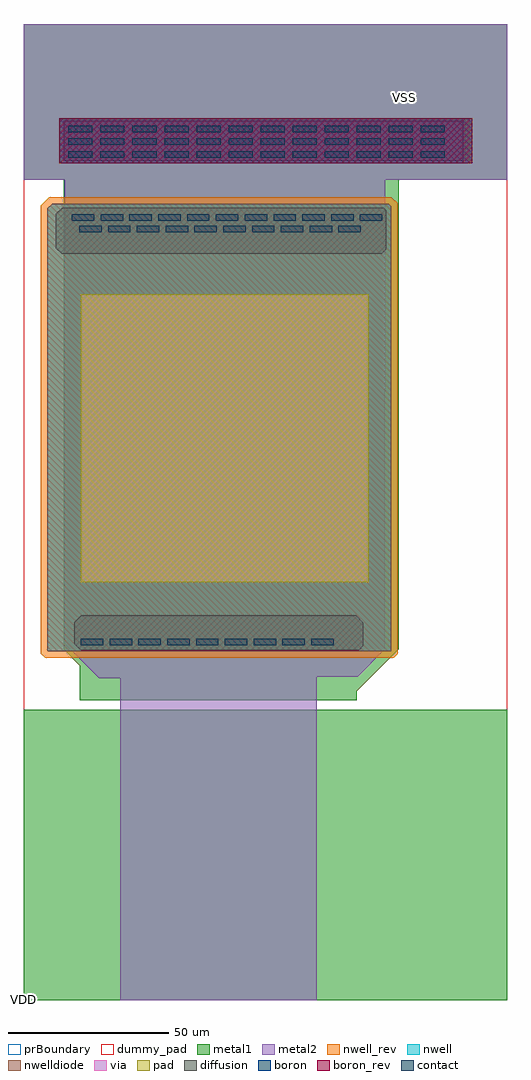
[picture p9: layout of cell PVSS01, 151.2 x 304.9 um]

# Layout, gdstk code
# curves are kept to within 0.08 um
import gdstk
lib = gdstk.Library(unit=1e-6, precision=1e-09)
def R(c, l, rs):  # rectangles x0, y0, x1, y1
    for r in rs: c.add(gdstk.rectangle(r[:2], r[2:], *l))
def A(c, l, x, y, w, h, nx, ny, dx, dy):  # array of equal rectangles
    R(c, l, [(x+i*dx, y+j*dy, x+i*dx+w, y+j*dy+h) for i in range(nx) for j in range(ny)])
def P(c, l, *ps):  # polygons
    for p in ps: c.add(gdstk.Polygon(p, *l))
nwell = (1, 0)
diffusion = (2, 0)
nwell_rev = (3, 0)
boron = (5, 0)
boron_rev = (6, 0)
contact = (7, 0)
metal1 = (8, 0)
via = (9, 0)
metal2 = (10, 0)
pad = (11, 0)
prBoundary = (28, 0)
nwelldiode = (38, 0)
dummy_pad = (40, 0)

pvss01 = lib.new_cell('PVSS01')
P(pvss01, nwell, [(7.55,108.95),(7.45,109.05),(7.45,247.3),(8.95,248.8),(114.098,248.8),(114.9,247.998),(114.9,109),(114.85,108.95)])
R(pvss01, diffusion, [(12.55,262.15,137.3,274.65)])
P(pvss01, diffusion, [(17.851,109.3),(15.9,111.251),(15.9,118.06),(18.04,120.2),(103.9,120.2),(106.2,117.9),(106.2,110.601),(104.899,109.3)],
  [(11.901,233.05),(10.1,234.851),(10.1,245.548),(12.102,247.55),(112.6,247.55),(113.4,246.75),(113.4,234.601),(111.849,233.05)])
P(pvss01, nwell_rev, [(6.722,106.95),(5.45,108.222),(5.45,248.128),(8.122,250.8),(114.926,250.8),(116.9,248.826),(116.9,108.172),(115.678,106.95)])
R(pvss01, boron, [(11.1,261.45,140.15,275.45)])
R(pvss01, boron_rev, [(11.1,261.45,140.15,275.45)])
A(pvss01, contact, 17.9, 110.8, 7, 2, 9, 1, 9, 0)
A(pvss01, contact, 17.4, 239.9, 7, 2, 10, 1, 9, 0)
A(pvss01, contact, 15.1, 243.4, 7, 2, 10, 1, 9, 0)
A(pvss01, contact, 14.05, 263.15, 7.5, 2, 12, 3, 10, 4)
R(pvss01, contact, [(105.1,243.4,112,245.4)])
R(pvss01, metal1, [(0,0,151.2,90.7), (0,256.2,151.2,304.9), (0,256.2,151.2,304.9)])
P(pvss01, metal1, [(17.65,93.7),(17.65,104.4),(12.5,109.55),(12.5,258.55),(117.2,258.55),(117.2,109.5),(104.15,96.45),(104.15,93.7)])
R(pvss01, via, [(17.9,130.55,107.9,220.55)])
R(pvss01, metal2, [(30.25,0,91.55,90.7), (0,256.2,151.2,304.9)])
P(pvss01, metal2, [(30.25,90.7),(30.25,100.45),(23.71,100.45),(12.9,111.26),(12.9,256.2),(0,256.2),(0,304.9),(151.2,304.9),(151.2,256.2),(113,256.2),(112.9,109.501),(104.349,100.95),(91.55,100.95),(91.55,90.7)])
R(pvss01, pad, [(17.9,130.55,107.9,220.55)])
R(pvss01, prBoundary, [(0,0,151.2,304.9)])
P(pvss01, nwelldiode, [(7.55,108.95),(7.45,109.05),(7.45,247.3),(8.95,248.8),(114.098,248.8),(114.9,247.998),(114.9,109),(114.85,108.95)])
R(pvss01, dummy_pad, [(0,0,151.2,304.9)])
pvss01.add(gdstk.Label('VSS', (119,281.8), layer=10, texttype=7))
pvss01.add(gdstk.Label('VDD', (0.001,0.001), layer=8, texttype=7))

lib.write_gds('PVSS01.gds')
